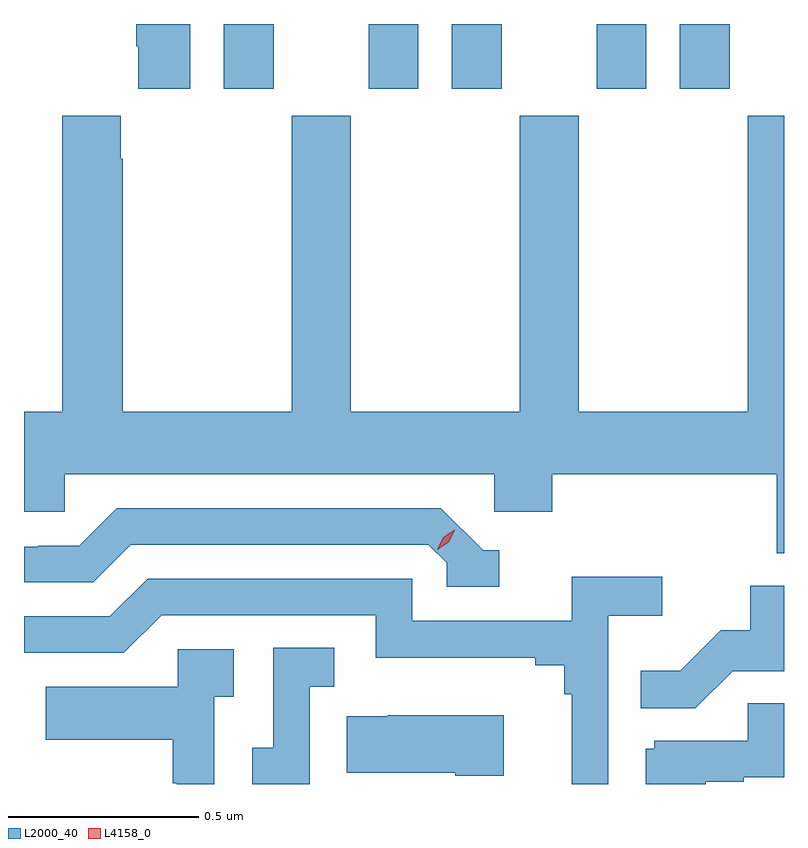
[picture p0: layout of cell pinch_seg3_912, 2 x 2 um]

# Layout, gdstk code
import gdstk
lib = gdstk.Library(unit=1e-6, precision=1e-09)
def R(c, l, rs):  # rectangles x0, y0, x1, y1
    for r in rs: c.add(gdstk.rectangle(r[:2], r[2:], *l))
def P(c, l, *ps):  # polygons
    for p in ps: c.add(gdstk.Polygon(p, *l))
L2000_40 = (2000, 40)
L4158_0 = (4158, 0)

pinch_seg3_912 = lib.new_cell('pinch_seg3_912')
R(pinch_seg3_912, L2000_40, [(879.296,691.275,879.427,691.445), (879.677,691.275,879.808,691.445), (879.896,691.275,880.027,691.445), (880.277,691.275,880.408,691.445), (880.496,691.275,880.627,691.445)])
P(pinch_seg3_912, L2000_40, [(879.208,691.445),(879.065,691.445),(879.065,691.387),(879.071,691.387),(879.071,691.275),(879.208,691.275)],
  [(880.77,691.204),(880.675,691.204),(880.675,690.424),(880.23,690.424),(880.23,691.204),(880.075,691.204),(880.075,690.424),(879.63,690.424),(879.63,691.204),(879.475,691.204),(879.475,690.424),(879.03,690.424),(879.03,691.091),(879.025,691.091),(879.025,691.204),(878.87,691.204),(878.87,690.424),(878.77,690.424),(878.77,690.162),(878.877,690.162),(878.877,690.26),(880.008,690.26),(880.008,690.162),(880.16,690.162),(880.16,690.26),(880.751,690.26),(880.751,690.052),(880.77,690.052)],
  [(880.021,690.06),(879.978,690.06),(879.867,690.171),(879.014,690.171),(878.915,690.072),(878.808,690.072),(878.808,690.069),(878.77,690.069),(878.77,689.976),(878.952,689.976),(879.051,690.075),(879.834,690.075),(879.882,690.027),(879.882,689.964),(880.021,689.964)],
  [(880.308,689.888),(880.45,689.888),(880.45,689.99),(880.211,689.99),(880.211,689.874),(879.792,689.874),(879.792,689.985),(879.095,689.985),(878.996,689.886),(878.77,689.886),(878.77,689.79),(879.033,689.79),(879.132,689.889),(879.696,689.889),(879.696,689.777),(880.115,689.777),(880.115,689.758),(880.192,689.758),(880.192,689.681),(880.211,689.681),(880.211,689.445),(880.308,689.445)],
  [(880.635,689.742),(880.77,689.742),(880.77,689.967),(880.681,689.967),(880.681,689.85),(880.604,689.85),(880.497,689.743),(880.393,689.743),(880.393,689.644),(880.537,689.644)],
  [(879.522,689.701),(879.586,689.701),(879.586,689.804),(879.426,689.804),(879.426,689.541),(879.371,689.541),(879.371,689.445),(879.522,689.445)],
  [(879.27,689.675),(879.322,689.675),(879.322,689.799),(879.174,689.799),(879.174,689.701),(878.827,689.701),(878.827,689.561),(879.162,689.561),(879.162,689.447),(879.172,689.447),(879.172,689.445),(879.27,689.445)],
  [(880.564,689.451),(880.664,689.451),(880.664,689.463),(880.77,689.463),(880.77,689.657),(880.675,689.657),(880.675,689.559),(880.428,689.559),(880.428,689.538),(880.406,689.538),(880.406,689.445),(880.564,689.445)],
  [(880.033,689.626),(879.727,689.626),(879.727,689.623),(879.619,689.623),(879.619,689.474),(879.905,689.474),(879.905,689.467),(880.033,689.467)])
P(pinch_seg3_912, L4158_0, [(879.857,690.062),(879.857,690.062),(879.873,690.095),(879.904,690.114),(879.904,690.114),(879.904,690.114),(879.888,690.081),(879.857,690.062)])

lib.write_gds('pinch_seg3_912.gds')
